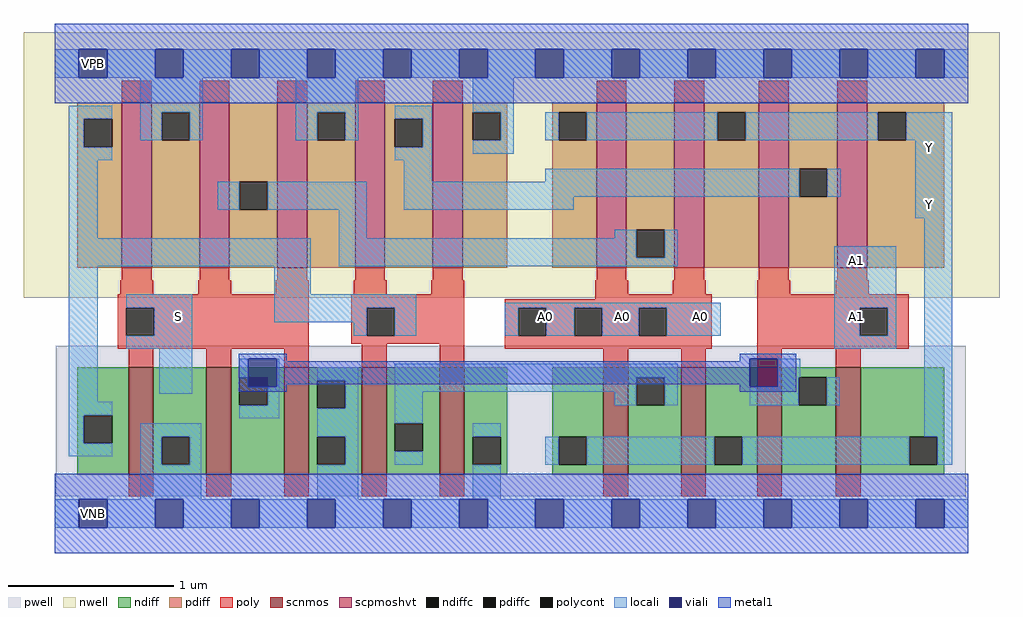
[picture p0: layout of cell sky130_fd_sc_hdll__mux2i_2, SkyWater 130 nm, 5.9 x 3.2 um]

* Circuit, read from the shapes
.subckt sky130_fd_sc_hdll__mux2i_2 A0 A1 S VGND VNB VPB VPWR Y
XM1 VGND S n1 VNB sky130_fd_pr__nfet_01v8 w=0.65 l=0.15
XM2 n2 S VGND VNB sky130_fd_pr__nfet_01v8 w=0.65 l=0.15 m=2
XM3 n3 n1 VGND VNB sky130_fd_pr__nfet_01v8 w=0.65 l=0.15 m=2
XM4 n3 A0 Y VNB sky130_fd_pr__nfet_01v8 w=0.65 l=0.15 m=2
XM5 n2 A1 Y VNB sky130_fd_pr__nfet_01v8 w=0.65 l=0.15 m=2
XM6 VPWR S n1 VPB sky130_fd_pr__pfet_01v8_hvt w=1 l=0.18
XM7 n4 S VPWR VPB sky130_fd_pr__pfet_01v8_hvt w=1 l=0.18 m=2
XM8 n5 n1 VPWR VPB sky130_fd_pr__pfet_01v8_hvt w=1 l=0.18 m=2
XM9 n4 A0 Y VPB sky130_fd_pr__pfet_01v8_hvt w=1 l=0.18 m=2
XM10 n5 A1 Y VPB sky130_fd_pr__pfet_01v8_hvt w=1 l=0.18 m=2
.ends

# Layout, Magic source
magic
tech sky130A
magscale 1 2
<< nwell >>
rect -38 261 1142 582
<< pwell >>
rect 1 21 1101 203
rect 30 -17 64 21
<< scnmos >>
rect 89 47 119 177
rect 183 47 213 177
rect 277 47 307 177
rect 371 47 401 177
rect 465 47 495 177
rect 663 47 693 177
rect 757 47 787 177
rect 849 47 879 177
rect 944 47 974 177
<< scpmoshvt >>
rect 81 297 117 497
rect 175 297 211 497
rect 269 297 305 497
rect 363 297 399 497
rect 457 297 493 497
rect 655 297 691 497
rect 749 297 785 497
rect 851 297 887 497
rect 946 297 982 497
<< ndiff >>
rect 27 119 89 177
rect 27 85 35 119
rect 69 85 89 119
rect 27 47 89 85
rect 119 93 183 177
rect 119 59 129 93
rect 163 59 183 93
rect 119 47 183 59
rect 213 165 277 177
rect 213 131 223 165
rect 257 131 277 165
rect 213 47 277 131
rect 307 161 371 177
rect 307 127 317 161
rect 351 127 371 161
rect 307 93 371 127
rect 307 59 317 93
rect 351 59 371 93
rect 307 47 371 59
rect 401 109 465 177
rect 401 75 411 109
rect 445 75 465 109
rect 401 47 465 75
rect 495 93 547 177
rect 495 59 505 93
rect 539 59 547 93
rect 495 47 547 59
rect 601 93 663 177
rect 601 59 609 93
rect 643 59 663 93
rect 601 47 663 59
rect 693 165 757 177
rect 693 131 703 165
rect 737 131 757 165
rect 693 47 757 131
rect 787 93 849 177
rect 787 59 797 93
rect 831 59 849 93
rect 787 47 849 59
rect 879 165 944 177
rect 879 131 899 165
rect 933 131 944 165
rect 879 47 944 131
rect 974 93 1075 177
rect 974 59 1033 93
rect 1067 59 1075 93
rect 974 47 1075 59
<< pdiff >>
rect 27 477 81 497
rect 27 443 35 477
rect 69 443 81 477
rect 27 297 81 443
rect 117 485 175 497
rect 117 451 129 485
rect 163 451 175 485
rect 117 297 175 451
rect 211 401 269 497
rect 211 367 223 401
rect 257 367 269 401
rect 211 297 269 367
rect 305 485 363 497
rect 305 451 317 485
rect 351 451 363 485
rect 305 297 363 451
rect 399 477 457 497
rect 399 443 411 477
rect 445 443 457 477
rect 399 297 457 443
rect 493 485 547 497
rect 493 451 505 485
rect 539 451 547 485
rect 493 297 547 451
rect 601 485 655 497
rect 601 451 609 485
rect 643 451 655 485
rect 601 297 655 451
rect 691 343 749 497
rect 691 309 703 343
rect 737 309 749 343
rect 691 297 749 309
rect 785 485 851 497
rect 785 451 801 485
rect 835 451 851 485
rect 785 297 851 451
rect 887 417 946 497
rect 887 383 900 417
rect 934 383 946 417
rect 887 297 946 383
rect 982 485 1075 497
rect 982 451 995 485
rect 1029 451 1075 485
rect 982 297 1075 451
<< ndiffc >>
rect 35 85 69 119
rect 129 59 163 93
rect 223 131 257 165
rect 317 127 351 161
rect 317 59 351 93
rect 411 75 445 109
rect 505 59 539 93
rect 609 59 643 93
rect 703 131 737 165
rect 797 59 831 93
rect 899 131 933 165
rect 1033 59 1067 93
<< pdiffc >>
rect 35 443 69 477
rect 129 451 163 485
rect 223 367 257 401
rect 317 451 351 485
rect 411 443 445 477
rect 505 451 539 485
rect 609 451 643 485
rect 703 309 737 343
rect 801 451 835 485
rect 900 383 934 417
rect 995 451 1029 485
<< poly >>
rect 81 497 117 523
rect 175 497 211 523
rect 269 497 305 523
rect 363 497 399 523
rect 457 497 493 523
rect 655 497 691 523
rect 749 497 785 523
rect 851 497 887 523
rect 946 497 982 523
rect 81 282 117 297
rect 175 282 211 297
rect 269 282 305 297
rect 363 282 399 297
rect 457 282 493 297
rect 655 282 691 297
rect 749 282 785 297
rect 851 282 887 297
rect 946 282 982 297
rect 79 265 119 282
rect 173 265 213 282
rect 267 265 307 282
rect 361 265 401 282
rect 455 265 495 282
rect 76 249 307 265
rect 76 215 86 249
rect 120 215 307 249
rect 76 199 307 215
rect 358 249 495 265
rect 653 265 693 282
rect 747 265 787 282
rect 849 265 889 282
rect 944 265 984 282
rect 653 259 794 265
rect 358 215 377 249
rect 411 215 495 249
rect 358 205 495 215
rect 89 177 119 199
rect 183 177 213 199
rect 277 177 307 199
rect 371 177 401 205
rect 465 177 495 205
rect 544 249 794 259
rect 544 215 560 249
rect 594 215 628 249
rect 662 215 706 249
rect 740 215 794 249
rect 544 199 794 215
rect 849 249 1032 265
rect 849 215 973 249
rect 1007 215 1032 249
rect 849 199 1032 215
rect 663 177 693 199
rect 757 177 787 199
rect 849 177 879 199
rect 944 177 974 199
rect 89 21 119 47
rect 183 21 213 47
rect 277 21 307 47
rect 371 21 401 47
rect 465 21 495 47
rect 663 21 693 47
rect 757 21 787 47
rect 849 21 879 47
rect 944 21 974 47
<< polycont >>
rect 86 215 120 249
rect 377 215 411 249
rect 560 215 594 249
rect 628 215 662 249
rect 706 215 740 249
rect 973 215 1007 249
<< locali >>
rect 0 527 29 561
rect 63 527 121 561
rect 155 527 213 561
rect 247 527 305 561
rect 339 527 397 561
rect 431 527 489 561
rect 523 527 581 561
rect 615 527 673 561
rect 707 527 765 561
rect 799 527 857 561
rect 891 527 949 561
rect 983 527 1041 561
rect 1075 527 1104 561
rect 17 477 69 493
rect 17 443 35 477
rect 103 485 179 527
rect 103 451 129 485
rect 163 451 179 485
rect 291 485 367 527
rect 291 451 317 485
rect 351 451 367 485
rect 411 477 456 493
rect 17 427 69 443
rect 445 443 456 477
rect 411 427 456 443
rect 505 485 555 527
rect 539 451 555 485
rect 593 451 609 485
rect 643 451 801 485
rect 835 451 995 485
rect 1029 451 1085 485
rect 505 435 555 451
rect 17 333 52 427
rect 422 401 456 427
rect 593 401 900 417
rect 197 367 223 401
rect 257 367 377 401
rect 422 383 900 401
rect 934 383 950 417
rect 422 367 627 383
rect 343 333 377 367
rect 1040 357 1085 451
rect 677 333 703 343
rect 17 299 309 333
rect 343 309 703 333
rect 737 309 753 343
rect 343 299 753 309
rect 17 135 52 299
rect 265 265 309 299
rect 86 249 166 265
rect 120 215 166 249
rect 265 249 437 265
rect 265 231 377 249
rect 361 215 377 231
rect 411 215 437 249
rect 544 249 805 255
rect 544 215 560 249
rect 594 215 628 249
rect 662 215 706 249
rect 740 215 805 249
rect 942 249 1017 323
rect 942 215 973 249
rect 1007 215 1017 249
rect 86 199 166 215
rect 942 199 1017 215
rect 126 145 166 199
rect 223 165 234 187
rect 268 153 271 187
rect 17 119 69 135
rect 17 85 35 119
rect 257 131 271 153
rect 223 115 271 131
rect 317 161 367 177
rect 351 127 367 161
rect 17 69 69 85
rect 103 93 177 109
rect 103 59 129 93
rect 163 59 177 93
rect 103 17 177 59
rect 317 93 367 127
rect 351 59 367 93
rect 411 165 753 181
rect 411 147 703 165
rect 411 109 445 147
rect 677 131 703 147
rect 737 131 753 165
rect 874 165 901 187
rect 874 153 899 165
rect 840 131 899 153
rect 933 131 949 165
rect 411 59 445 75
rect 505 93 539 109
rect 1051 93 1085 357
rect 593 59 609 93
rect 643 59 797 93
rect 831 59 1033 93
rect 1067 59 1085 93
rect 317 17 367 59
rect 505 17 539 59
rect 0 -17 29 17
rect 63 -17 121 17
rect 155 -17 213 17
rect 247 -17 305 17
rect 339 -17 397 17
rect 431 -17 489 17
rect 523 -17 581 17
rect 615 -17 673 17
rect 707 -17 765 17
rect 799 -17 857 17
rect 891 -17 949 17
rect 983 -17 1041 17
rect 1075 -17 1104 17
<< viali >>
rect 29 527 63 561
rect 121 527 155 561
rect 213 527 247 561
rect 305 527 339 561
rect 397 527 431 561
rect 489 527 523 561
rect 581 527 615 561
rect 673 527 707 561
rect 765 527 799 561
rect 857 527 891 561
rect 949 527 983 561
rect 1041 527 1075 561
rect 234 165 268 187
rect 234 153 257 165
rect 257 153 268 165
rect 840 153 874 187
rect 29 -17 63 17
rect 121 -17 155 17
rect 213 -17 247 17
rect 305 -17 339 17
rect 397 -17 431 17
rect 489 -17 523 17
rect 581 -17 615 17
rect 673 -17 707 17
rect 765 -17 799 17
rect 857 -17 891 17
rect 949 -17 983 17
rect 1041 -17 1075 17
<< metal1 >>
rect 0 561 1104 592
rect 0 527 29 561
rect 63 527 121 561
rect 155 527 213 561
rect 247 527 305 561
rect 339 527 397 561
rect 431 527 489 561
rect 523 527 581 561
rect 615 527 673 561
rect 707 527 765 561
rect 799 527 857 561
rect 891 527 949 561
rect 983 527 1041 561
rect 1075 527 1104 561
rect 0 496 1104 527
rect 222 187 280 193
rect 222 153 234 187
rect 268 184 280 187
rect 828 187 896 193
rect 828 184 840 187
rect 268 156 840 184
rect 268 153 280 156
rect 222 147 280 153
rect 828 153 840 156
rect 874 153 896 187
rect 828 147 896 153
rect 0 17 1104 48
rect 0 -17 29 17
rect 63 -17 121 17
rect 155 -17 213 17
rect 247 -17 305 17
rect 339 -17 397 17
rect 431 -17 489 17
rect 523 -17 581 17
rect 615 -17 673 17
rect 707 -17 765 17
rect 799 -17 857 17
rect 891 -17 949 17
rect 983 -17 1041 17
rect 1075 -17 1104 17
rect 0 -48 1104 -17
<< labels >>
flabel locali s 1040 425 1074 459 0 FreeSans 200 0 0 0 Y
port 8 nsew signal output
flabel locali s 952 289 986 323 0 FreeSans 200 0 0 0 A1
port 2 nsew signal input
flabel locali s 952 221 986 255 0 FreeSans 200 0 0 0 A1
port 2 nsew signal input
flabel locali s 1040 357 1074 391 0 FreeSans 200 0 0 0 Y
port 8 nsew signal output
flabel locali s 669 221 703 255 0 FreeSans 200 0 0 0 A0
port 1 nsew signal input
flabel locali s 576 221 610 255 0 FreeSans 200 0 0 0 A0
port 1 nsew signal input
flabel locali s 764 221 798 255 0 FreeSans 200 0 0 0 A0
port 1 nsew signal input
flabel locali s 132 221 166 255 0 FreeSans 200 0 0 0 S
port 3 nsew signal input
flabel pwell s 30 -17 64 17 0 FreeSans 200 0 0 0 VNB
port 5 nsew ground bidirectional
flabel nwell s 30 527 64 561 0 FreeSans 200 0 0 0 VPB
port 6 nsew power bidirectional
flabel metal1 s 30 527 64 561 0 FreeSans 200 0 0 0 VPWR
port 7 nsew power bidirectional
flabel metal1 s 30 -17 64 17 0 FreeSans 200 0 0 0 VGND
port 4 nsew ground bidirectional
rlabel comment s 0 0 0 0 4 mux2i_2
<< properties >>
string LEFsite unithd
string LEFclass CORE
string FIXED_BBOX 0 0 1104 544
string GDS_FILE $PDKPATH/libs.ref/sky130_fd_sc_hdll/gds/sky130_fd_sc_hdll.gds
string LEFsymmetry X Y R90
string GDS_END 2159168
string GDS_START 2150706
string LEFproperties maskLayoutSubType "abstract" prCellType "standard" originalViewName "layout"
<< end >>
